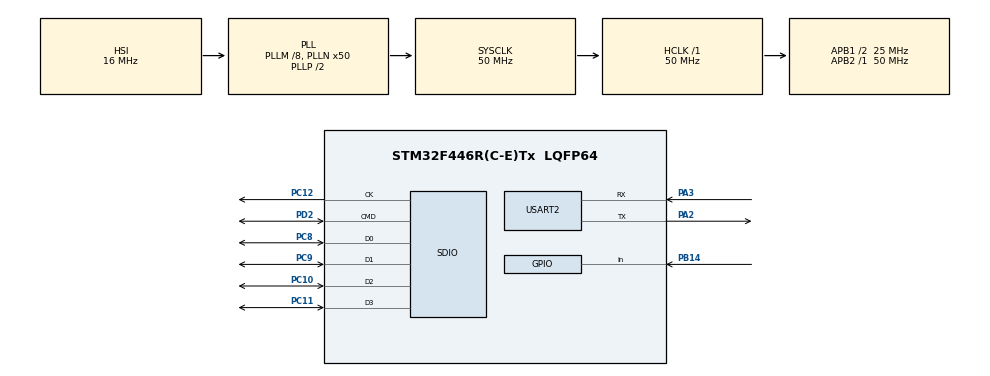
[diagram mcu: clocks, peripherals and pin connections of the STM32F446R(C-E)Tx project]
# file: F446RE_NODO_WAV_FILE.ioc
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Dma.Request0=SDIO_RX
Dma.Request1=SDIO_TX
Dma.SDIO_RX.0.Direction=DMA_PERIPH_TO_MEMORY
Dma.SDIO_RX.0.FIFOMode=DMA_FIFOMODE_ENABLE
Dma.SDIO_RX.0.FIFOThreshold=DMA_FIFO_THRESHOLD_FULL
Dma.SDIO_RX.0.Instance=DMA2_Stream3
Dma.SDIO_RX.0.MemBurst=DMA_MBURST_INC4
Dma.SDIO_RX.0.MemDataAlignment=DMA_MDATAALIGN_WORD
Dma.SDIO_RX.0.MemInc=DMA_MINC_ENABLE
Dma.SDIO_RX.0.Mode=DMA_PFCTRL
Dma.SDIO_RX.0.PeriphBurst=DMA_PBURST_INC4
Dma.SDIO_RX.0.PeriphDataAlignment=DMA_PDATAALIGN_WORD
Dma.SDIO_RX.0.PeriphInc=DMA_PINC_DISABLE
Dma.SDIO_RX.0.Priority=DMA_PRIORITY_LOW
Dma.SDIO_TX.1.Direction=DMA_MEMORY_TO_PERIPH
Dma.SDIO_TX.1.FIFOMode=DMA_FIFOMODE_ENABLE
Dma.SDIO_TX.1.FIFOThreshold=DMA_FIFO_THRESHOLD_FULL
Dma.SDIO_TX.1.Instance=DMA2_Stream6
Dma.SDIO_TX.1.MemBurst=DMA_MBURST_INC4
Dma.SDIO_TX.1.MemDataAlignment=DMA_MDATAALIGN_WORD
Dma.SDIO_TX.1.MemInc=DMA_MINC_ENABLE
Dma.SDIO_TX.1.Mode=DMA_PFCTRL
Dma.SDIO_TX.1.PeriphBurst=DMA_PBURST_INC4
Dma.SDIO_TX.1.PeriphDataAlignment=DMA_PDATAALIGN_WORD
Dma.SDIO_TX.1.PeriphInc=DMA_PINC_DISABLE
Dma.SDIO_TX.1.Priority=DMA_PRIORITY_LOW
FATFS.BSP.number=1
FATFS._MAX_SS=4096
FATFS0.BSP.STBoard=false
FATFS0.BSP.api=Unknown
FATFS0.BSP.instance=PB14
FATFS0.BSP.ip=GPIO
FATFS0.BSP.mode=Input
FATFS0.BSP.name=Detect_SDIO
FATFS0.BSP.solution=PB14
Mcu.Family=STM32F4
Mcu.Name=STM32F446R(C-E)Tx
Mcu.Package=LQFP64
NVIC.DMA2_Stream3_IRQn=true\:0\:0\:false\:false\:true\:false\:true\:true
NVIC.DMA2_Stream6_IRQn=true\:0\:0\:false\:false\:true\:false\:true\:true
NVIC.PriorityGroup=NVIC_PRIORITYGROUP_4
NVIC.SDIO_IRQn=true\:0\:0\:false\:false\:true\:true\:true\:true
PA13.Mode=Serial_Wire
PA13.Signal=SYS_JTMS-SWDIO
PA14.Mode=Serial_Wire
PA14.Signal=SYS_JTCK-SWCLK
PA2.Mode=Asynchronous
PA2.Signal=USART2_TX
PA3.Mode=Asynchronous
PA3.Signal=USART2_RX
PB14.Signal=GPIO_Input
PC10.Mode=SD_4_bits_Wide_bus
PC10.Signal=SDIO_D2
PC11.Mode=SD_4_bits_Wide_bus
PC11.Signal=SDIO_D3
PC12.Mode=SD_4_bits_Wide_bus
PC12.Signal=SDIO_CK
PC8.Mode=SD_4_bits_Wide_bus
PC8.Signal=SDIO_D0
PC9.GPIO_PuPd=GPIO_PULLUP
PC9.Mode=SD_4_bits_Wide_bus
PC9.Signal=SDIO_D1
PD2.Mode=SD_4_bits_Wide_bus
PD2.Signal=SDIO_CMD
PH0-OSC_IN.Mode=HSE-External-Oscillator
PH0-OSC_IN.Signal=RCC_OSC_IN
PH1-OSC_OUT.Mode=HSE-External-Oscillator
PH1-OSC_OUT.Signal=RCC_OSC_OUT
ProjectManager.HeapSize=0x200
ProjectManager.StackSize=0x400
ProjectManager.TargetToolchain=STM32CubeIDE
RCC.AHBFreq_Value=50000000
RCC.APB1CLKDivider=RCC_HCLK_DIV2
RCC.APB1Freq_Value=25000000
RCC.APB1TimFreq_Value=50000000
RCC.APB2Freq_Value=50000000
RCC.APB2TimFreq_Value=50000000
RCC.CortexFreq_Value=50000000
RCC.HCLKFreq_Value=50000000
RCC.HSE_VALUE=8000000
RCC.PLLI2SM=8
RCC.PLLI2SN=50
RCC.PLLM=8
RCC.PLLN=50
RCC.PLLQ=5
RCC.SYSCLKFreq_VALUE=50000000
RCC.SYSCLKSource=RCC_SYSCLKSOURCE_PLLCLK
RCC.USBFreq_Value=20000000
RCC.VCOOutputFreq_Value=100000000
SDIO.ClockDiv=2
SDIO.HardwareFlowControl=SDIO_HARDWARE_FLOW_CONTROL_ENABLE
USART2.VirtualMode=VM_ASYNC
VP_CRC_VS_CRC.Mode=CRC_Activate
VP_FATFS_VS_SDIO.Mode=SDIO
board=custom

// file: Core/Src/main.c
/* USER CODE BEGIN Header */
/**
  ******************************************************************************
  * @file           : main.c
  * @brief          : Main program body
  ******************************************************************************
  * @attention
  *
  * Copyright (c) 2022 STMicroelectronics.
  * All rights reserved.
  *
  * This software is licensed under terms that can be found in the LICENSE file
  * in the root directory of this software component.
  * If no LICENSE file comes with this software, it is provided AS-IS.
  *
  ******************************************************************************
  */
/* USER CODE END Header */
#include "main.h"
#include "fatfs.h"

/* USER CODE BEGIN Includes */
#include <stdio.h>
#include <string.h>

/* USER CODE END Includes */

/* USER CODE BEGIN PTD */
typedef struct _WaveHeader{
	char riff[4];
	uint32_t size;
	char wave[4];
	char fmt[4];
	uint32_t fmt_size;
	uint16_t format; //1:PCM
	uint16_t channels; // channels
	uint32_t sampleRate;  // sample rate
	uint32_t rbc;//sampleRate*bitsPerSample*channels/8
	uint16_t bc; //bitsPerSample*channels/8
	uint16_t bitsPerSample; //bitsPerSample
	char data[4];
	uint32_t data_size;
} WAVE_HEADER;

/* USER CODE END PTD */

CRC_HandleTypeDef hcrc;

SD_HandleTypeDef hsd;
DMA_HandleTypeDef hdma_sdio_rx;
DMA_HandleTypeDef hdma_sdio_tx;

UART_HandleTypeDef huart2;

void SystemClock_Config(void);
static void MX_GPIO_Init(void);
static void MX_DMA_Init(void);
static void MX_SDIO_SD_Init(void);
static void MX_USART2_UART_Init(void);
static void MX_CRC_Init(void);
/* USER CODE BEGIN PFP */
FRESULT fwrite_wav_header(FIL* file, uint16_t sampleRate, uint8_t bitsPerSample, uint8_t channels);
FRESULT Format_SD (void);

/* USER CODE END PFP */

int main(void)
{

  /* MCU Configuration--------------------------------------------------------*/

  /* Reset of all peripherals, Initializes the Flash interface and the Systick. */
  HAL_Init();

  /* Configure the system clock */
  SystemClock_Config();

  /* Initialize all configured peripherals */
  MX_GPIO_Init();
  MX_DMA_Init();
  MX_SDIO_SD_Init();
  MX_FATFS_Init();
  MX_USART2_UART_Init();
  MX_CRC_Init();

  /* Infinite loop */
  /* USER CODE BEGIN WHILE */
  FRESULT res;
  char filename[256];
  FIL fil;

  do
  {
	  res = f_mount(&SDFatFS, SDPath, 1);
  }
  while( res != FR_OK);

  do
  {
	  res = Format_SD();
  }
  while (res != FR_OK);

  uint16_t count;

  while (1)
  {
	  HAL_Delay(1);
	  sprintf(filename, "%sr_%05d.wav", SDPath, count++);
	  do
	  {
	  res = f_open(&fil, filename, FA_CREATE_ALWAYS|FA_WRITE);
	  }
	  while(res != FR_OK);
	  res = fwrite_wav_header(&fil, 48000, 16, 2);
	  res = f_close(&fil);

	  HAL_Delay(1000);
    /* USER CODE END WHILE */

  }
}

void SystemClock_Config(void)
{
  RCC_OscInitTypeDef RCC_OscInitStruct = {0};
  RCC_ClkInitTypeDef RCC_ClkInitStruct = {0};

  /** Configure the main internal regulator output voltage
  */
  __HAL_RCC_PWR_CLK_ENABLE();
  __HAL_PWR_VOLTAGESCALING_CONFIG(PWR_REGULATOR_VOLTAGE_SCALE3);

  /** Initializes the RCC Oscillators according to the specified parameters
  * in the RCC_OscInitTypeDef structure.
  */
  RCC_OscInitStruct.OscillatorType = RCC_OSCILLATORTYPE_HSI;
  RCC_OscInitStruct.HSIState = RCC_HSI_ON;
  RCC_OscInitStruct.HSICalibrationValue = RCC_HSICALIBRATION_DEFAULT;
  RCC_OscInitStruct.PLL.PLLState = RCC_PLL_ON;
  RCC_OscInitStruct.PLL.PLLSource = RCC_PLLSOURCE_HSI;
  RCC_OscInitStruct.PLL.PLLM = 8;
  RCC_OscInitStruct.PLL.PLLN = 50;
  RCC_OscInitStruct.PLL.PLLP = RCC_PLLP_DIV2;
  RCC_OscInitStruct.PLL.PLLQ = 5;
  RCC_OscInitStruct.PLL.PLLR = 2;
  if (HAL_RCC_OscConfig(&RCC_OscInitStruct) != HAL_OK)
  {
    Error_Handler();
  }

  /** Initializes the CPU, AHB and APB buses clocks
  */
  RCC_ClkInitStruct.ClockType = RCC_CLOCKTYPE_HCLK|RCC_CLOCKTYPE_SYSCLK
                              |RCC_CLOCKTYPE_PCLK1|RCC_CLOCKTYPE_PCLK2;
  RCC_ClkInitStruct.SYSCLKSource = RCC_SYSCLKSOURCE_PLLCLK;
  RCC_ClkInitStruct.AHBCLKDivider = RCC_SYSCLK_DIV1;
  RCC_ClkInitStruct.APB1CLKDivider = RCC_HCLK_DIV2;
  RCC_ClkInitStruct.APB2CLKDivider = RCC_HCLK_DIV1;

  if (HAL_RCC_ClockConfig(&RCC_ClkInitStruct, FLASH_LATENCY_1) != HAL_OK)
  {
    Error_Handler();
  }
}

static void MX_CRC_Init(void)
{

  hcrc.Instance = CRC;
  if (HAL_CRC_Init(&hcrc) != HAL_OK)
  {
    Error_Handler();
  }

}

static void MX_SDIO_SD_Init(void)
{

  hsd.Instance = SDIO;
  hsd.Init.ClockEdge = SDIO_CLOCK_EDGE_RISING;
  hsd.Init.ClockBypass = SDIO_CLOCK_BYPASS_DISABLE;
  hsd.Init.ClockPowerSave = SDIO_CLOCK_POWER_SAVE_DISABLE;
  hsd.Init.BusWide = SDIO_BUS_WIDE_1B;
  hsd.Init.HardwareFlowControl = SDIO_HARDWARE_FLOW_CONTROL_ENABLE;
  hsd.Init.ClockDiv = 2;

}

static void MX_USART2_UART_Init(void)
{

  huart2.Instance = USART2;
  huart2.Init.BaudRate = 115200;
  huart2.Init.WordLength = UART_WORDLENGTH_8B;
  huart2.Init.StopBits = UART_STOPBITS_1;
  huart2.Init.Parity = UART_PARITY_NONE;
  huart2.Init.Mode = UART_MODE_TX_RX;
  huart2.Init.HwFlowCtl = UART_HWCONTROL_NONE;
  huart2.Init.OverSampling = UART_OVERSAMPLING_16;
  if (HAL_UART_Init(&huart2) != HAL_OK)
  {
    Error_Handler();
  }

}

static void MX_DMA_Init(void)
{

  /* DMA controller clock enable */
  __HAL_RCC_DMA2_CLK_ENABLE();

  /* DMA interrupt init */
  /* DMA2_Stream3_IRQn interrupt configuration */
  HAL_NVIC_SetPriority(DMA2_Stream3_IRQn, 0, 0);
  HAL_NVIC_EnableIRQ(DMA2_Stream3_IRQn);
  /* DMA2_Stream6_IRQn interrupt configuration */
  HAL_NVIC_SetPriority(DMA2_Stream6_IRQn, 0, 0);
  HAL_NVIC_EnableIRQ(DMA2_Stream6_IRQn);

}

static void MX_GPIO_Init(void)
{
  GPIO_InitTypeDef GPIO_InitStruct = {0};

  /* GPIO Ports Clock Enable */
  __HAL_RCC_GPIOH_CLK_ENABLE();
  __HAL_RCC_GPIOA_CLK_ENABLE();
  __HAL_RCC_GPIOB_CLK_ENABLE();
  __HAL_RCC_GPIOC_CLK_ENABLE();
  __HAL_RCC_GPIOD_CLK_ENABLE();

  /*Configure GPIO pin : PB14 */
  GPIO_InitStruct.Pin = GPIO_PIN_14;
  GPIO_InitStruct.Mode = GPIO_MODE_INPUT;
  GPIO_InitStruct.Pull = GPIO_NOPULL;
  HAL_GPIO_Init(GPIOB, &GPIO_InitStruct);

}

/* USER CODE BEGIN 4 */
FRESULT fwrite_wav_header(FIL* file, uint16_t sampleRate, uint8_t bitsPerSample, uint8_t channels) {
	UINT bw;
	WAVE_HEADER wave_header;
	wave_header.riff[0] = 'R';wave_header.riff[1] = 'I';
	wave_header.riff[2] = 'F';wave_header.riff[3] = 'F';
	wave_header.size = (uint32_t)0;
	wave_header.wave[0] = 'W';wave_header.wave[1] = 'A';
	wave_header.wave[2] = 'V';wave_header.wave[3] = 'E';
	wave_header.fmt[0] = 'f';wave_header.fmt[1] = 'm';
	wave_header.fmt[2] = 't';wave_header.fmt[3] = ' ';
	wave_header.fmt_size = 16;
	wave_header.format = 1; // PCM
	wave_header.channels = channels; // channels
	wave_header.sampleRate=sampleRate;  // sample rate
	wave_header.rbc = sampleRate*bitsPerSample*channels/8;
	wave_header.bc =  bitsPerSample*channels/8;
	wave_header.bitsPerSample = bitsPerSample; //bitsPerSample
	wave_header.data[0] = 'd'; wave_header.data[1] = 'a';
	wave_header.data[2] = 't'; wave_header.data[3] = 'a';
	wave_header.data_size = 0;
	return f_write(file, (uint8_t*)&wave_header, sizeof(wave_header), &bw);
}

FRESULT Format_SD (void)
{
    DIR dir;
    static FILINFO fno;
    static FRESULT fresult;

    char *path = malloc(20*sizeof (char));
    sprintf (path, "%s","/");

    fresult = f_opendir(&dir, path);                       /* Open the directory */
    if (fresult == FR_OK)
    {
        for (;;)
        {
            fresult = f_readdir(&dir, &fno);                   /* Read a directory item */
            if (fresult != FR_OK || fno.fname[0] == 0) break;  /* Break on error or end of dir */
            if (fno.fattrib & AM_DIR)     /* It is a directory */
            {
            	if (!(strcmp ("SYSTEM~1", fno.fname))) continue;
            	fresult = f_unlink(fno.fname);
            	if (fresult == FR_DENIED) continue;
            }
            else
            {   /* It is a file. */
               fresult = f_unlink(fno.fname);
            }
        }
        f_closedir(&dir);
    }
    free(path);
    return fresult;
}

/* USER CODE END 4 */

void Error_Handler(void)
{
  __disable_irq();
  while (1)
  {
  }
}
